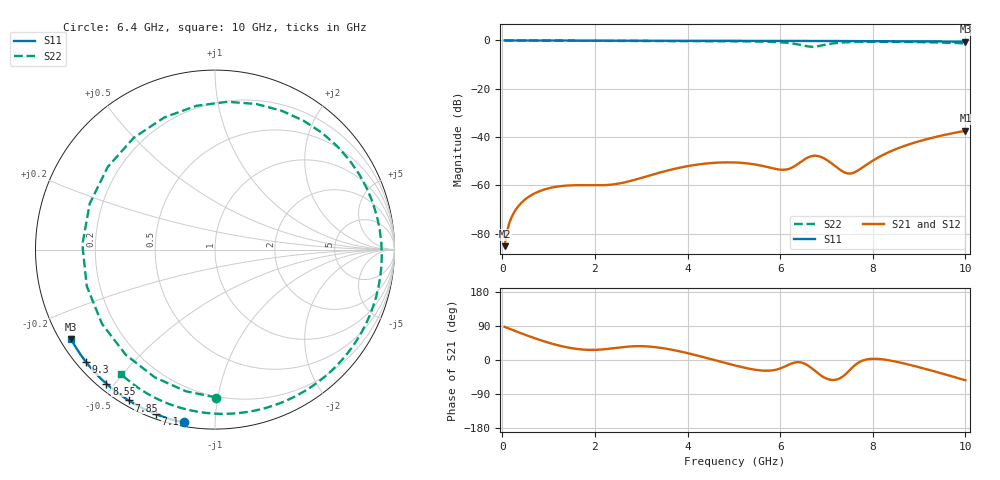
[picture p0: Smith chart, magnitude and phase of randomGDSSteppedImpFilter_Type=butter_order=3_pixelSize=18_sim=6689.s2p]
! freq	dB(S11)	phase(S11)	dB(S12)	phase(S12)
!  dB(S21)	phase(S21)	dB(S22)	phase(S22)
!S-par simulation data
#  GHz  S  DB  R 50
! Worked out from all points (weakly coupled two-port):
!   200 points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, 50 MHz to 10 GHz, reference 50 ohm
!   highest |S21| = -37.40 dB at 10 GHz (marker M1); lowest = -85.2 dB at 50 MHz (marker M2)
!   lowest |S11| = -0.5 dB at 10 GHz (marker M3), VSWR 34.94, Z = 1.55 - j14.3 ohm
!   |S11| at or under -10 dB: nowhere
!   |S22| runs from -2.6 to 0.0 dB; largest |S21 - S12| = 0
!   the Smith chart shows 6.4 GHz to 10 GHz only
!   S11 on the Smith chart (normalised r, x): 6.4 GHz: 0.02, -0.84; 7.1 GHz: 0.02, -0.70; 7.85 GHz: 0.02, -0.58; 8.55 GHz: 0.02, -0.48; 9.3 GHz: 0.03, -0.38; 10 GHz: 0.03, -0.29
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0.05  -0.00 -0.9  -85.17 87.6  -85.17 87.6  -0.00 -4.1
0.4  -0.01 -6.9  -67.46 70.8  -67.46 70.8  -0.04 -31.8
0.9  -0.02 -15.3  -61.75 49.4  -61.75 49.4  -0.09 -69.6
1.75  -0.04 -29.6  -59.93 27.5  -59.93 27.5  -0.14 -125.9
2.55  -0.05 -42.7  -59.13 33.3  -59.13 33.3  -0.17 -171.6
3.4  -0.07 -56.2  -54.70 32.4  -54.70 32.4  -0.20 143.4
4.25  -0.10 -69.3  -51.30 10.6  -51.30 10.6  -0.25 97.7
5.05  -0.12 -81.1  -50.54 -15.1  -50.54 -15.1  -0.34 50.6
5.55  -0.14 -88.3  -51.66 -27.2  -51.66 -27.2  -0.46 16.0
5.9  -0.16 -93.3  -53.17 -25.9  -53.17 -25.9  -0.66 -14.7
6.15  -0.17 -96.8  -53.37 -14.4  -53.37 -14.4  -0.99 -44.4
6.4  -0.19 -100.2  -50.91 -5.7  -50.91 -5.7  -1.68 -89.6
6.55  -0.19 -102.3  -48.95 -10.9  -48.95 -10.9  -2.29 -130.3
6.7  -0.20 -104.3  -47.79 -23.7  -47.79 -23.7  -2.62 177.9
6.9  -0.22 -107.1  -48.37 -42.5  -48.37 -42.5  -2.06 110.9
7.1  -0.23 -109.8  -50.72 -52.4  -50.72 -52.4  -1.33 64.4
7.4  -0.25 -113.8  -54.72 -38.8  -54.72 -38.8  -0.80 22.0
7.85  -0.28 -119.8  -51.65 1.0  -51.65 1.0  -0.58 -16.5
8.35  -0.32 -126.4  -46.21 -0.8  -46.21 -0.8  -0.57 -46.6
8.55  -0.34 -129.0  -44.61 -5.6  -44.61 -5.6  -0.60 -57.0
9.3  -0.42 -138.9  -40.21 -28.9  -40.21 -28.9  -0.81 -92.9
10  -0.50 -148.1  -37.40 -53.5  -37.40 -53.5  -1.22 -126.9
